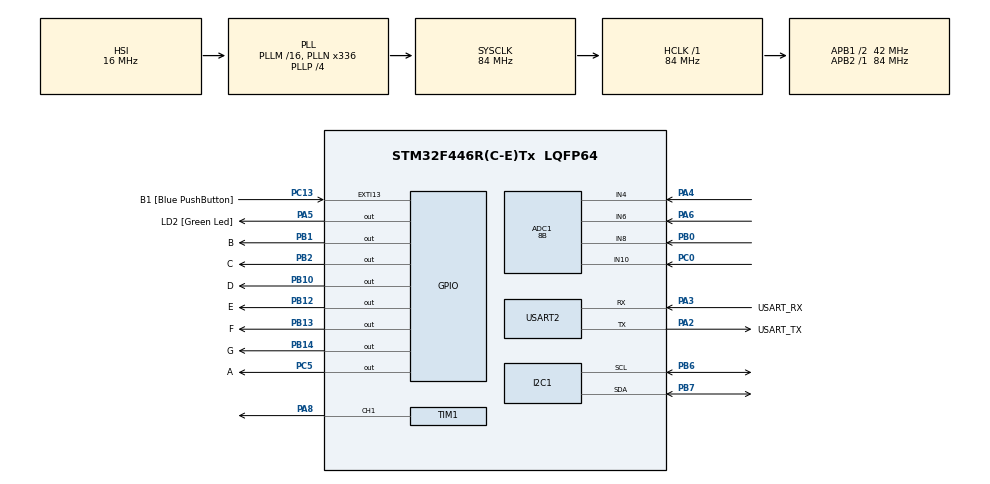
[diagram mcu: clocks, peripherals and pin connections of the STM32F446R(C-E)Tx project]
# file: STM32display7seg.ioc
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ADC1.Channel-0\#ChannelRegularConversion=ADC_CHANNEL_4
ADC1.Channel-1\#ChannelRegularConversion=ADC_CHANNEL_6
ADC1.Channel-2\#ChannelRegularConversion=ADC_CHANNEL_8
ADC1.Channel-3\#ChannelRegularConversion=ADC_CHANNEL_10
ADC1.NbrOfConversion=4
ADC1.NbrOfConversionFlag=1
ADC1.Rank-0\#ChannelRegularConversion=1
ADC1.Rank-1\#ChannelRegularConversion=2
ADC1.Rank-2\#ChannelRegularConversion=3
ADC1.Rank-3\#ChannelRegularConversion=4
ADC1.Resolution=ADC_RESOLUTION_8B
ADC1.SamplingTime-0\#ChannelRegularConversion=ADC_SAMPLETIME_15CYCLES
ADC1.SamplingTime-1\#ChannelRegularConversion=ADC_SAMPLETIME_15CYCLES
ADC1.SamplingTime-2\#ChannelRegularConversion=ADC_SAMPLETIME_15CYCLES
ADC1.SamplingTime-3\#ChannelRegularConversion=ADC_SAMPLETIME_15CYCLES
ADC1.ScanConvMode=ENABLE
ADC1.master=1
Dma.ADC1.0.Direction=DMA_PERIPH_TO_MEMORY
Dma.ADC1.0.FIFOMode=DMA_FIFOMODE_DISABLE
Dma.ADC1.0.Instance=DMA2_Stream0
Dma.ADC1.0.MemDataAlignment=DMA_MDATAALIGN_BYTE
Dma.ADC1.0.MemInc=DMA_MINC_ENABLE
Dma.ADC1.0.Mode=DMA_NORMAL
Dma.ADC1.0.PeriphDataAlignment=DMA_PDATAALIGN_BYTE
Dma.ADC1.0.PeriphInc=DMA_PINC_DISABLE
Dma.ADC1.0.Priority=DMA_PRIORITY_LOW
Dma.Request0=ADC1
Dma.Request1=TIM1_CH1
Dma.TIM1_CH1.1.Direction=DMA_MEMORY_TO_PERIPH
Dma.TIM1_CH1.1.FIFOMode=DMA_FIFOMODE_DISABLE
Dma.TIM1_CH1.1.Instance=DMA2_Stream1
Dma.TIM1_CH1.1.MemDataAlignment=DMA_MDATAALIGN_HALFWORD
Dma.TIM1_CH1.1.MemInc=DMA_MINC_ENABLE
Dma.TIM1_CH1.1.Mode=DMA_NORMAL
Dma.TIM1_CH1.1.PeriphDataAlignment=DMA_PDATAALIGN_HALFWORD
Dma.TIM1_CH1.1.PeriphInc=DMA_PINC_DISABLE
Dma.TIM1_CH1.1.Priority=DMA_PRIORITY_HIGH
I2C1.OwnAddress=18
Mcu.Family=STM32F4
Mcu.Name=STM32F446R(C-E)Tx
Mcu.Package=LQFP64
NVIC.DMA2_Stream0_IRQn=true\:0\:0\:false\:false\:true\:false\:true\:true
NVIC.DMA2_Stream1_IRQn=true\:0\:0\:false\:false\:true\:false\:true\:true
NVIC.I2C1_ER_IRQn=true\:0\:0\:false\:false\:true\:true\:true\:true
NVIC.I2C1_EV_IRQn=true\:0\:0\:false\:false\:true\:true\:true\:true
NVIC.PriorityGroup=NVIC_PRIORITYGROUP_0
PA13.GPIO_Label=TMS
PA13.Mode=Serial_Wire
PA13.Signal=SYS_JTMS-SWDIO
PA14.GPIO_Label=TCK
PA14.Mode=Serial_Wire
PA14.Signal=SYS_JTCK-SWCLK
PA2.GPIO_Label=USART_TX
PA2.Mode=Asynchronous
PA2.Signal=USART2_TX
PA3.GPIO_Label=USART_RX
PA3.Mode=Asynchronous
PA3.Signal=USART2_RX
PA4.Signal=ADCx_IN4
PA5.GPIO_Label=LD2 [Green Led]
PA5.Signal=GPIO_Output
PA6.Signal=ADCx_IN6
PA8.Signal=S_TIM1_CH1
PB0.Signal=ADCx_IN8
PB1.GPIO_Label=B
PB1.Signal=GPIO_Output
PB10.GPIO_Label=D
PB10.Signal=GPIO_Output
PB12.GPIO_Label=E
PB12.Signal=GPIO_Output
PB13.GPIO_Label=F
PB13.Signal=GPIO_Output
PB14.GPIO_Label=G
PB14.Signal=GPIO_Output
PB2.GPIO_Label=C
PB2.Signal=GPIO_Output
PB3.GPIO_Label=SWO
PB3.Signal=SYS_JTDO-SWO
PB6.Mode=I2C
PB6.Signal=I2C1_SCL
PB7.Mode=I2C
PB7.Signal=I2C1_SDA
PC0.Signal=ADCx_IN10
PC13.GPIO_Label=B1 [Blue PushButton]
PC13.GPIO_ModeDefaultEXTI=GPIO_MODE_IT_FALLING
PC13.Signal=GPXTI13
PC14-OSC32_IN.Mode=LSE-External-Oscillator
PC14-OSC32_IN.Signal=RCC_OSC32_IN
PC15-OSC32_OUT.Mode=LSE-External-Oscillator
PC15-OSC32_OUT.Signal=RCC_OSC32_OUT
PC5.GPIO_Label=A
PC5.Signal=GPIO_Output
PH0-OSC_IN.Mode=HSE-External-Oscillator
PH0-OSC_IN.Signal=RCC_OSC_IN
PH1-OSC_OUT.Mode=HSE-External-Oscillator
PH1-OSC_OUT.Signal=RCC_OSC_OUT
ProjectManager.HeapSize=0x200
ProjectManager.StackSize=0x400
ProjectManager.TargetToolchain=STM32CubeIDE
RCC.48MHZClocksFreq_Value=84000000
RCC.AHBFreq_Value=84000000
RCC.APB1CLKDivider=RCC_HCLK_DIV2
RCC.APB1Freq_Value=42000000
RCC.APB1TimFreq_Value=84000000
RCC.APB2Freq_Value=84000000
RCC.APB2TimFreq_Value=84000000
RCC.CortexFreq_Value=84000000
RCC.FLatency-AdvancedSettings=FLASH_LATENCY_2
RCC.HCLKFreq_Value=84000000
RCC.HSE_VALUE=8000000
RCC.HSI_VALUE=16000000
RCC.PLLN=336
RCC.PLLP=RCC_PLLP_DIV4
RCC.SYSCLKFreq_VALUE=84000000
RCC.SYSCLKSource=RCC_SYSCLKSOURCE_PLLCLK
RCC.USBFreq_Value=168000000
RCC.VCOOutputFreq_Value=336000000
SH.ADCx_IN10.0=ADC1_IN10,IN10
SH.ADCx_IN4.0=ADC1_IN4,IN4
SH.ADCx_IN6.0=ADC1_IN6,IN6
SH.ADCx_IN8.0=ADC1_IN8,IN8
SH.S_TIM1_CH1.0=TIM1_CH1,PWM Generation1 CH1
TIM1.Channel-PWM\ Generation1\ CH1=TIM_CHANNEL_1
TIM1.Period=105-1
USART2.VirtualMode=VM_ASYNC
VP_TIM1_VS_ClockSourceINT.Mode=Internal
board=NUCLEO-F446RE

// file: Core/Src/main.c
/* USER CODE BEGIN Header */
/**
  ******************************************************************************
  * @file           : main.c
  * @brief          : Main program body
  ******************************************************************************
  * @attention
  *
  * Copyright (c) 2026 STMicroelectronics.
  * All rights reserved.
  *
  * This software is licensed under terms that can be found in the LICENSE file
  * in the root directory of this software component.
  * If no LICENSE file comes with this software, it is provided AS-IS.
  *
  ******************************************************************************
  */
/* USER CODE END Header */
#include "main.h"

/* USER CODE BEGIN Includes */
#include "Neopixel.h"
/* USER CODE END Includes */

ADC_HandleTypeDef hadc1;
DMA_HandleTypeDef hdma_adc1;

I2C_HandleTypeDef hi2c1;

TIM_HandleTypeDef htim1;
DMA_HandleTypeDef hdma_tim1_ch1;

UART_HandleTypeDef huart2;

/* USER CODE BEGIN PV */
/* Lecturas ADC de los 4 LDR */
volatile uint8_t PARQUEO_ADC[4];
extern float brilloled;
float brilloled = 30.0f;
/* Estados de los 4 parqueos
   0 = libre
   1 = ocupado
*/
volatile uint8_t P1_OCUPADO = 0;
volatile uint8_t P2_OCUPADO = 0;
volatile uint8_t P3_OCUPADO = 0;
volatile uint8_t P4_OCUPADO = 0;

uint8_t rxCommand = 0;
uint8_t txEstado = 0;

/* Conteos */
volatile uint8_t carros_ocupados_STM2 = 0;
volatile uint8_t parqueos_libres_STM2 = 4;

/* Para no redibujar el 7 segmentos sin necesidad */
uint8_t display_anterior = 255;

/* Mismo umbral que estás usando por ahora */
#define UMBRAL_LDR 100
uint8_t neo_estado_anterior = 255;
/* USER CODE END PV */

void SystemClock_Config(void);
static void MX_GPIO_Init(void);
static void MX_DMA_Init(void);
static void MX_ADC1_Init(void);
static void MX_USART2_UART_Init(void);
static void MX_I2C1_Init(void);
static void MX_TIM1_Init(void);

/* USER CODE BEGIN 0 */
void Mostrar_7Segmentos(uint8_t numero)
{
	/* Apagar todos los segmentos
	   Ánodo común: 1 = apagado, 0 = encendido
	*/
	HAL_GPIO_WritePin(A_GPIO_Port, A_Pin, GPIO_PIN_SET);
	HAL_GPIO_WritePin(B_GPIO_Port, B_Pin, GPIO_PIN_SET);
	HAL_GPIO_WritePin(C_GPIO_Port, C_Pin, GPIO_PIN_SET);
	HAL_GPIO_WritePin(D_GPIO_Port, D_Pin, GPIO_PIN_SET);
	HAL_GPIO_WritePin(E_GPIO_Port, E_Pin, GPIO_PIN_SET);
	HAL_GPIO_WritePin(F_GPIO_Port, F_Pin, GPIO_PIN_SET);
	HAL_GPIO_WritePin(G_GPIO_Port, G_Pin, GPIO_PIN_SET);

	switch(numero)
	{
		case 0:
			HAL_GPIO_WritePin(A_GPIO_Port, A_Pin, GPIO_PIN_RESET);
			HAL_GPIO_WritePin(B_GPIO_Port, B_Pin, GPIO_PIN_RESET);
			HAL_GPIO_WritePin(C_GPIO_Port, C_Pin, GPIO_PIN_RESET);
			HAL_GPIO_WritePin(D_GPIO_Port, D_Pin, GPIO_PIN_RESET);
			HAL_GPIO_WritePin(E_GPIO_Port, E_Pin, GPIO_PIN_RESET);
			HAL_GPIO_WritePin(F_GPIO_Port, F_Pin, GPIO_PIN_RESET);
			break;

		case 1:
			HAL_GPIO_WritePin(B_GPIO_Port, B_Pin, GPIO_PIN_RESET);
			HAL_GPIO_WritePin(C_GPIO_Port, C_Pin, GPIO_PIN_RESET);
			break;

		case 2:
			HAL_GPIO_WritePin(A_GPIO_Port, A_Pin, GPIO_PIN_RESET);
			HAL_GPIO_WritePin(B_GPIO_Port, B_Pin, GPIO_PIN_RESET);
			HAL_GPIO_WritePin(D_GPIO_Port, D_Pin, GPIO_PIN_RESET);
			HAL_GPIO_WritePin(E_GPIO_Port, E_Pin, GPIO_PIN_RESET);
			HAL_GPIO_WritePin(G_GPIO_Port, G_Pin, GPIO_PIN_RESET);
			break;

		case 3:
			HAL_GPIO_WritePin(A_GPIO_Port, A_Pin, GPIO_PIN_RESET);
			HAL_GPIO_WritePin(B_GPIO_Port, B_Pin, GPIO_PIN_RESET);
			HAL_GPIO_WritePin(C_GPIO_Port, C_Pin, GPIO_PIN_RESET);
			HAL_GPIO_WritePin(D_GPIO_Port, D_Pin, GPIO_PIN_RESET);
			HAL_GPIO_WritePin(G_GPIO_Port, G_Pin, GPIO_PIN_RESET);
			break;

		case 4:
			HAL_GPIO_WritePin(B_GPIO_Port, B_Pin, GPIO_PIN_RESET);
			HAL_GPIO_WritePin(C_GPIO_Port, C_Pin, GPIO_PIN_RESET);
			HAL_GPIO_WritePin(F_GPIO_Port, F_Pin, GPIO_PIN_RESET);
			HAL_GPIO_WritePin(G_GPIO_Port, G_Pin, GPIO_PIN_RESET);
			break;

		case 5:
			HAL_GPIO_WritePin(A_GPIO_Port, A_Pin, GPIO_PIN_RESET);
			HAL_GPIO_WritePin(C_GPIO_Port, C_Pin, GPIO_PIN_RESET);
			HAL_GPIO_WritePin(D_GPIO_Port, D_Pin, GPIO_PIN_RESET);
			HAL_GPIO_WritePin(F_GPIO_Port, F_Pin, GPIO_PIN_RESET);
			HAL_GPIO_WritePin(G_GPIO_Port, G_Pin, GPIO_PIN_RESET);
			break;

		case 6:
			HAL_GPIO_WritePin(A_GPIO_Port, A_Pin, GPIO_PIN_RESET);
			HAL_GPIO_WritePin(C_GPIO_Port, C_Pin, GPIO_PIN_RESET);
			HAL_GPIO_WritePin(D_GPIO_Port, D_Pin, GPIO_PIN_RESET);
			HAL_GPIO_WritePin(E_GPIO_Port, E_Pin, GPIO_PIN_RESET);
			HAL_GPIO_WritePin(F_GPIO_Port, F_Pin, GPIO_PIN_RESET);
			HAL_GPIO_WritePin(G_GPIO_Port, G_Pin, GPIO_PIN_RESET);
			break;

		case 7:
			HAL_GPIO_WritePin(A_GPIO_Port, A_Pin, GPIO_PIN_RESET);
			HAL_GPIO_WritePin(B_GPIO_Port, B_Pin, GPIO_PIN_RESET);
			HAL_GPIO_WritePin(C_GPIO_Port, C_Pin, GPIO_PIN_RESET);
			break;

		case 8:
			HAL_GPIO_WritePin(A_GPIO_Port, A_Pin, GPIO_PIN_RESET);
			HAL_GPIO_WritePin(B_GPIO_Port, B_Pin, GPIO_PIN_RESET);
			HAL_GPIO_WritePin(C_GPIO_Port, C_Pin, GPIO_PIN_RESET);
			HAL_GPIO_WritePin(D_GPIO_Port, D_Pin, GPIO_PIN_RESET);
			HAL_GPIO_WritePin(E_GPIO_Port, E_Pin, GPIO_PIN_RESET);
			HAL_GPIO_WritePin(F_GPIO_Port, F_Pin, GPIO_PIN_RESET);
			HAL_GPIO_WritePin(G_GPIO_Port, G_Pin, GPIO_PIN_RESET);
			break;
	}
}
/* USER CODE END 0 */

int main(void)
{

  /* MCU Configuration--------------------------------------------------------*/

  /* Reset of all peripherals, Initializes the Flash interface and the Systick. */
  HAL_Init();

  /* Configure the system clock */
  SystemClock_Config();

  /* Initialize all configured peripherals */
  MX_GPIO_Init();
  MX_DMA_Init();
  MX_ADC1_Init();
  MX_USART2_UART_Init();
  MX_I2C1_Init();
  MX_TIM1_Init();
  /* USER CODE BEGIN 2 */
  //pixelClear();
  //setBrightness(30);
  //pixelShow();

  HAL_I2C_EnableListen_IT(&hi2c1);

  /* USER CODE END 2 */

  /* Infinite loop */
  /* USER CODE BEGIN WHILE */
  while (1)
  {
	  /* -------------------------------------------------
	  	   LEER LOS 4 ADC CON DMA
	  	   ------------------------------------------------- */
	  	HAL_ADC_Start_DMA(&hadc1, (uint32_t*)PARQUEO_ADC, 4);
	  	HAL_Delay(20);
	  	HAL_ADC_Stop_DMA(&hadc1);

	  	/* -------------------------------------------------
	  	   DETECTAR SI HAY CARRO
	  	   ADC bajo = carro detectado
	  	   ------------------------------------------------- */

	  	if(PARQUEO_ADC[0] < UMBRAL_LDR)
	  		P1_OCUPADO = 1;
	  	else
	  		P1_OCUPADO = 0;

	  	if(PARQUEO_ADC[1] < UMBRAL_LDR)
	  		P2_OCUPADO = 1;
	  	else
	  		P2_OCUPADO = 0;

	  	if(PARQUEO_ADC[2] < 80)
	  		P3_OCUPADO = 1;
	  	else
	  		P3_OCUPADO = 0;

	  	if(PARQUEO_ADC[3] < 60)
	  		P4_OCUPADO = 1;
	  	else
	  		P4_OCUPADO = 0;

	  	/* -------------------------------------------------
	  	   CONTAR CARROS OCUPADOS EN ESTA STM32
	  	   ------------------------------------------------- */
	  	carros_ocupados_STM2 =
	  			P1_OCUPADO
	  			+ P2_OCUPADO
	  			+ P3_OCUPADO
	  			+ P4_OCUPADO;

	  	/* -------------------------------------------------
	  	   CONTAR PARQUEOS LIBRES DE ESTA STM32
	  	   ------------------------------------------------- */
	  	parqueos_libres_STM2 = 4 - carros_ocupados_STM2;

	  	/* -------------------------------------------------
	  	   MOSTRAR EN EL DISPLAY SOLO SI CAMBIÓ
	  	   ------------------------------------------------- */
	  	if(parqueos_libres_STM2 != display_anterior)
	  	{
	  		Mostrar_7Segmentos(parqueos_libres_STM2);
	  		display_anterior = parqueos_libres_STM2;
	  	}
	  	/* -------------------------------------------------
	  	   ACTUALIZAR NEOPIXEL DE LOS 4 PARQUEOS
	  	   Libre = verde
	  	   Ocupado = rojo
	  	   ------------------------------------------------- */

	  	uint8_t neo_estado_actual =
	  			(P1_OCUPADO << 0)
	  			| (P2_OCUPADO << 1)
	  			| (P3_OCUPADO << 2)
	  			| (P4_OCUPADO << 3);

	  	txEstado = neo_estado_actual;

	  	if(neo_estado_actual != neo_estado_anterior)
	  	{
	  		/* Parqueo 1 - NeoPixel 0 */
	  		if(P1_OCUPADO == 1)
	  			setPixelColor(0, 255, 0, 0);   // Rojo
	  		else
	  			setPixelColor(0, 0, 255, 0);   // Verde

	  		/* Parqueo 2 - NeoPixel 1 */
	  		if(P2_OCUPADO == 1)
	  			setPixelColor(1, 255, 0, 0);
	  		else
	  			setPixelColor(1, 0, 255, 0);

	  		/* Parqueo 3 - NeoPixel 2 */
	  		if(P3_OCUPADO == 1)
	  			setPixelColor(2, 255, 0, 0);
	  		else
	  			setPixelColor(2, 0, 255, 0);

	  		/* Parqueo 4 - NeoPixel 3 */
	  		if(P4_OCUPADO == 1)
	  			setPixelColor(3, 255, 0, 0);
	  		else
	  			setPixelColor(3, 0, 255, 0);

	  		pixelShow();

	  		neo_estado_anterior = neo_estado_actual;
	  	}
    /* USER CODE END WHILE */

  }
}

void SystemClock_Config(void)
{
  RCC_OscInitTypeDef RCC_OscInitStruct = {0};
  RCC_ClkInitTypeDef RCC_ClkInitStruct = {0};

  /** Configure the main internal regulator output voltage
  */
  __HAL_RCC_PWR_CLK_ENABLE();
  __HAL_PWR_VOLTAGESCALING_CONFIG(PWR_REGULATOR_VOLTAGE_SCALE3);

  /** Initializes the RCC Oscillators according to the specified parameters
  * in the RCC_OscInitTypeDef structure.
  */
  RCC_OscInitStruct.OscillatorType = RCC_OSCILLATORTYPE_HSI;
  RCC_OscInitStruct.HSIState = RCC_HSI_ON;
  RCC_OscInitStruct.HSICalibrationValue = RCC_HSICALIBRATION_DEFAULT;
  RCC_OscInitStruct.PLL.PLLState = RCC_PLL_ON;
  RCC_OscInitStruct.PLL.PLLSource = RCC_PLLSOURCE_HSI;
  RCC_OscInitStruct.PLL.PLLM = 16;
  RCC_OscInitStruct.PLL.PLLN = 336;
  RCC_OscInitStruct.PLL.PLLP = RCC_PLLP_DIV4;
  RCC_OscInitStruct.PLL.PLLQ = 2;
  RCC_OscInitStruct.PLL.PLLR = 2;
  if (HAL_RCC_OscConfig(&RCC_OscInitStruct) != HAL_OK)
  {
    Error_Handler();
  }

  /** Initializes the CPU, AHB and APB buses clocks
  */
  RCC_ClkInitStruct.ClockType = RCC_CLOCKTYPE_HCLK|RCC_CLOCKTYPE_SYSCLK
                              |RCC_CLOCKTYPE_PCLK1|RCC_CLOCKTYPE_PCLK2;
  RCC_ClkInitStruct.SYSCLKSource = RCC_SYSCLKSOURCE_PLLCLK;
  RCC_ClkInitStruct.AHBCLKDivider = RCC_SYSCLK_DIV1;
  RCC_ClkInitStruct.APB1CLKDivider = RCC_HCLK_DIV2;
  RCC_ClkInitStruct.APB2CLKDivider = RCC_HCLK_DIV1;

  if (HAL_RCC_ClockConfig(&RCC_ClkInitStruct, FLASH_LATENCY_2) != HAL_OK)
  {
    Error_Handler();
  }
}

static void MX_ADC1_Init(void)
{

  ADC_ChannelConfTypeDef sConfig = {0};

  /** Configure the global features of the ADC (Clock, Resolution, Data Alignment and number of conversion)
  */
  hadc1.Instance = ADC1;
  hadc1.Init.ClockPrescaler = ADC_CLOCK_SYNC_PCLK_DIV4;
  hadc1.Init.Resolution = ADC_RESOLUTION_8B;
  hadc1.Init.ScanConvMode = ENABLE;
  hadc1.Init.ContinuousConvMode = DISABLE;
  hadc1.Init.DiscontinuousConvMode = DISABLE;
  hadc1.Init.ExternalTrigConvEdge = ADC_EXTERNALTRIGCONVEDGE_NONE;
  hadc1.Init.ExternalTrigConv = ADC_SOFTWARE_START;
  hadc1.Init.DataAlign = ADC_DATAALIGN_RIGHT;
  hadc1.Init.NbrOfConversion = 4;
  hadc1.Init.DMAContinuousRequests = DISABLE;
  hadc1.Init.EOCSelection = ADC_EOC_SINGLE_CONV;
  if (HAL_ADC_Init(&hadc1) != HAL_OK)
  {
    Error_Handler();
  }

  /** Configure for the selected ADC regular channel its corresponding rank in the sequencer and its sample time.
  */
  sConfig.Channel = ADC_CHANNEL_4;
  sConfig.Rank = 1;
  sConfig.SamplingTime = ADC_SAMPLETIME_15CYCLES;
  if (HAL_ADC_ConfigChannel(&hadc1, &sConfig) != HAL_OK)
  {
    Error_Handler();
  }

  /** Configure for the selected ADC regular channel its corresponding rank in the sequencer and its sample time.
  */
  sConfig.Channel = ADC_CHANNEL_6;
  sConfig.Rank = 2;
  if (HAL_ADC_ConfigChannel(&hadc1, &sConfig) != HAL_OK)
  {
    Error_Handler();
  }

  /** Configure for the selected ADC regular channel its corresponding rank in the sequencer and its sample time.
  */
  sConfig.Channel = ADC_CHANNEL_8;
  sConfig.Rank = 3;
  if (HAL_ADC_ConfigChannel(&hadc1, &sConfig) != HAL_OK)
  {
    Error_Handler();
  }

  /** Configure for the selected ADC regular channel its corresponding rank in the sequencer and its sample time.
  */
  sConfig.Channel = ADC_CHANNEL_10;
  sConfig.Rank = 4;
  if (HAL_ADC_ConfigChannel(&hadc1, &sConfig) != HAL_OK)
  {
    Error_Handler();
  }

}

static void MX_I2C1_Init(void)
{

  hi2c1.Instance = I2C1;
  hi2c1.Init.ClockSpeed = 100000;
  hi2c1.Init.DutyCycle = I2C_DUTYCYCLE_2;
  hi2c1.Init.OwnAddress1 = 18;
  hi2c1.Init.AddressingMode = I2C_ADDRESSINGMODE_7BIT;
  hi2c1.Init.DualAddressMode = I2C_DUALADDRESS_DISABLE;
  hi2c1.Init.OwnAddress2 = 0;
  hi2c1.Init.GeneralCallMode = I2C_GENERALCALL_DISABLE;
  hi2c1.Init.NoStretchMode = I2C_NOSTRETCH_DISABLE;
  if (HAL_I2C_Init(&hi2c1) != HAL_OK)
  {
    Error_Handler();
  }

}

static void MX_TIM1_Init(void)
{

  TIM_ClockConfigTypeDef sClockSourceConfig = {0};
  TIM_MasterConfigTypeDef sMasterConfig = {0};
  TIM_OC_InitTypeDef sConfigOC = {0};
  TIM_BreakDeadTimeConfigTypeDef sBreakDeadTimeConfig = {0};

  htim1.Instance = TIM1;
  htim1.Init.Prescaler = 0;
  htim1.Init.CounterMode = TIM_COUNTERMODE_UP;
  htim1.Init.Period = 105-1;
  htim1.Init.ClockDivision = TIM_CLOCKDIVISION_DIV1;
  htim1.Init.RepetitionCounter = 0;
  htim1.Init.AutoReloadPreload = TIM_AUTORELOAD_PRELOAD_DISABLE;
  if (HAL_TIM_Base_Init(&htim1) != HAL_OK)
  {
    Error_Handler();
  }
  sClockSourceConfig.ClockSource = TIM_CLOCKSOURCE_INTERNAL;
  if (HAL_TIM_ConfigClockSource(&htim1, &sClockSourceConfig) != HAL_OK)
  {
    Error_Handler();
  }
  if (HAL_TIM_PWM_Init(&htim1) != HAL_OK)
  {
    Error_Handler();
  }
  sMasterConfig.MasterOutputTrigger = TIM_TRGO_RESET;
  sMasterConfig.MasterSlaveMode = TIM_MASTERSLAVEMODE_DISABLE;
  if (HAL_TIMEx_MasterConfigSynchronization(&htim1, &sMasterConfig) != HAL_OK)
  {
    Error_Handler();
  }
  sConfigOC.OCMode = TIM_OCMODE_PWM1;
  sConfigOC.Pulse = 0;
  sConfigOC.OCPolarity = TIM_OCPOLARITY_HIGH;
  sConfigOC.OCNPolarity = TIM_OCNPOLARITY_HIGH;
  sConfigOC.OCFastMode = TIM_OCFAST_DISABLE;
  sConfigOC.OCIdleState = TIM_OCIDLESTATE_RESET;
  sConfigOC.OCNIdleState = TIM_OCNIDLESTATE_RESET;
  if (HAL_TIM_PWM_ConfigChannel(&htim1, &sConfigOC, TIM_CHANNEL_1) != HAL_OK)
  {
    Error_Handler();
  }
  sBreakDeadTimeConfig.OffStateRunMode = TIM_OSSR_DISABLE;
  sBreakDeadTimeConfig.OffStateIDLEMode = TIM_OSSI_DISABLE;
  sBreakDeadTimeConfig.LockLevel = TIM_LOCKLEVEL_OFF;
  sBreakDeadTimeConfig.DeadTime = 0;
  sBreakDeadTimeConfig.BreakState = TIM_BREAK_DISABLE;
  sBreakDeadTimeConfig.BreakPolarity = TIM_BREAKPOLARITY_HIGH;
  sBreakDeadTimeConfig.AutomaticOutput = TIM_AUTOMATICOUTPUT_DISABLE;
  if (HAL_TIMEx_ConfigBreakDeadTime(&htim1, &sBreakDeadTimeConfig) != HAL_OK)
  {
    Error_Handler();
  }
  HAL_TIM_MspPostInit(&htim1);

}

static void MX_USART2_UART_Init(void)
{

  huart2.Instance = USART2;
  huart2.Init.BaudRate = 115200;
  huart2.Init.WordLength = UART_WORDLENGTH_8B;
  huart2.Init.StopBits = UART_STOPBITS_1;
  huart2.Init.Parity = UART_PARITY_NONE;
  huart2.Init.Mode = UART_MODE_TX_RX;
  huart2.Init.HwFlowCtl = UART_HWCONTROL_NONE;
  huart2.Init.OverSampling = UART_OVERSAMPLING_16;
  if (HAL_UART_Init(&huart2) != HAL_OK)
  {
    Error_Handler();
  }

}

static void MX_DMA_Init(void)
{

  /* DMA controller clock enable */
  __HAL_RCC_DMA2_CLK_ENABLE();

  /* DMA interrupt init */
  /* DMA2_Stream0_IRQn interrupt configuration */
  HAL_NVIC_SetPriority(DMA2_Stream0_IRQn, 0, 0);
  HAL_NVIC_EnableIRQ(DMA2_Stream0_IRQn);
  /* DMA2_Stream1_IRQn interrupt configuration */
  HAL_NVIC_SetPriority(DMA2_Stream1_IRQn, 0, 0);
  HAL_NVIC_EnableIRQ(DMA2_Stream1_IRQn);

}

static void MX_GPIO_Init(void)
{
  GPIO_InitTypeDef GPIO_InitStruct = {0};

  /* GPIO Ports Clock Enable */
  __HAL_RCC_GPIOC_CLK_ENABLE();
  __HAL_RCC_GPIOH_CLK_ENABLE();
  __HAL_RCC_GPIOA_CLK_ENABLE();
  __HAL_RCC_GPIOB_CLK_ENABLE();

  /*Configure GPIO pin Output Level */
  HAL_GPIO_WritePin(LD2_GPIO_Port, LD2_Pin, GPIO_PIN_RESET);

  /*Configure GPIO pin Output Level */
  HAL_GPIO_WritePin(A_GPIO_Port, A_Pin, GPIO_PIN_RESET);

  /*Configure GPIO pin Output Level */
  HAL_GPIO_WritePin(GPIOB, B_Pin|C_Pin|D_Pin|E_Pin
                          |F_Pin|G_Pin, GPIO_PIN_RESET);

  /*Configure GPIO pin : B1_Pin */
  GPIO_InitStruct.Pin = B1_Pin;
  GPIO_InitStruct.Mode = GPIO_MODE_IT_FALLING;
  GPIO_InitStruct.Pull = GPIO_NOPULL;
  HAL_GPIO_Init(B1_GPIO_Port, &GPIO_InitStruct);

  /*Configure GPIO pin : LD2_Pin */
  GPIO_InitStruct.Pin = LD2_Pin;
  GPIO_InitStruct.Mode = GPIO_MODE_OUTPUT_PP;
  GPIO_InitStruct.Pull = GPIO_NOPULL;
  GPIO_InitStruct.Speed = GPIO_SPEED_FREQ_LOW;
  HAL_GPIO_Init(LD2_GPIO_Port, &GPIO_InitStruct);

  /*Configure GPIO pin : A_Pin */
  GPIO_InitStruct.Pin = A_Pin;
  GPIO_InitStruct.Mode = GPIO_MODE_OUTPUT_PP;
  GPIO_InitStruct.Pull = GPIO_NOPULL;
  GPIO_InitStruct.Speed = GPIO_SPEED_FREQ_LOW;
  HAL_GPIO_Init(A_GPIO_Port, &GPIO_InitStruct);

  /*Configure GPIO pins : B_Pin C_Pin D_Pin E_Pin
                           F_Pin G_Pin */
  GPIO_InitStruct.Pin = B_Pin|C_Pin|D_Pin|E_Pin
                          |F_Pin|G_Pin;
  GPIO_InitStruct.Mode = GPIO_MODE_OUTPUT_PP;
  GPIO_InitStruct.Pull = GPIO_NOPULL;
  GPIO_InitStruct.Speed = GPIO_SPEED_FREQ_LOW;
  HAL_GPIO_Init(GPIOB, &GPIO_InitStruct);

}

/* USER CODE BEGIN 4 */

void HAL_I2C_AddrCallback(
    I2C_HandleTypeDef *hi2c,
    uint8_t TransferDirection,
    uint16_t AddrMatchCode)
{
    if(hi2c->Instance == I2C1)
    {
        if(TransferDirection == I2C_DIRECTION_TRANSMIT)
        {
            // ESP escribe ('S' o dato)
            HAL_I2C_Slave_Seq_Receive_IT(
                hi2c,
                &rxCommand,
                1,
                I2C_LAST_FRAME
            );
        }

        if(TransferDirection == I2C_DIRECTION_RECEIVE)
        {
            // ESP pide un byte
            if(rxCommand=='S')
            {
                HAL_I2C_Slave_Seq_Transmit_IT(
                    hi2c,
                    &txEstado,
                    1,
                    I2C_LAST_FRAME
                );
            }
        }
    }
}

void HAL_I2C_ListenCpltCallback(I2C_HandleTypeDef *hi2c)
{
    HAL_I2C_EnableListen_IT(&hi2c1);
}

void HAL_I2C_ErrorCallback(I2C_HandleTypeDef *hi2c)
{
    HAL_I2C_EnableListen_IT(&hi2c1);
}

/* USER CODE END 4 */

void Error_Handler(void)
{
  __disable_irq();
  while (1)
  {
  }
}
